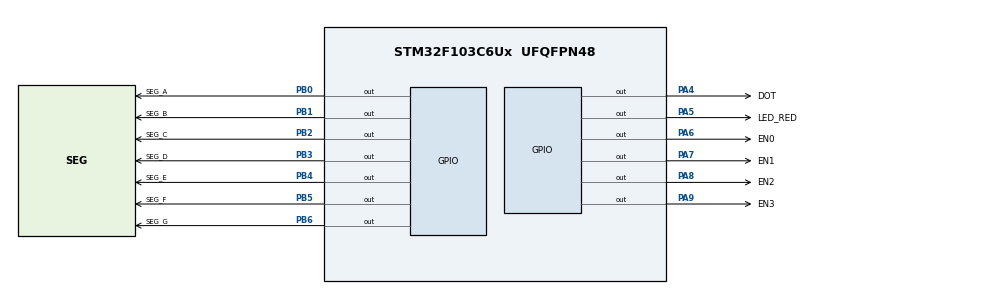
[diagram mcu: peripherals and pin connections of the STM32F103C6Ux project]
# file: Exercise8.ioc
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Mcu.Family=STM32F1
Mcu.Name=STM32F103C6Ux
Mcu.Package=UFQFPN48
NVIC.PriorityGroup=NVIC_PRIORITYGROUP_4
NVIC.TIM2_IRQn=true\:0\:0\:false\:false\:true\:true\:true
PA4.GPIO_Label=DOT
PA4.PinState=GPIO_PIN_SET
PA4.Signal=GPIO_Output
PA5.GPIO_Label=LED_RED
PA5.PinState=GPIO_PIN_SET
PA5.Signal=GPIO_Output
PA6.GPIO_Label=EN0
PA6.PinState=GPIO_PIN_SET
PA6.Signal=GPIO_Output
PA7.GPIO_Label=EN1
PA7.PinState=GPIO_PIN_SET
PA7.Signal=GPIO_Output
PA8.GPIO_Label=EN2
PA8.PinState=GPIO_PIN_SET
PA8.Signal=GPIO_Output
PA9.GPIO_Label=EN3
PA9.PinState=GPIO_PIN_SET
PA9.Signal=GPIO_Output
PB0.GPIO_Label=SEG_A
PB0.PinState=GPIO_PIN_SET
PB0.Signal=GPIO_Output
PB1.GPIO_Label=SEG_B
PB1.PinState=GPIO_PIN_SET
PB1.Signal=GPIO_Output
PB2.GPIO_Label=SEG_C
PB2.PinState=GPIO_PIN_SET
PB2.Signal=GPIO_Output
PB3.GPIO_Label=SEG_D
PB3.PinState=GPIO_PIN_SET
PB3.Signal=GPIO_Output
PB4.GPIO_Label=SEG_E
PB4.PinState=GPIO_PIN_SET
PB4.Signal=GPIO_Output
PB5.GPIO_Label=SEG_F
PB5.PinState=GPIO_PIN_SET
PB5.Signal=GPIO_Output
PB6.GPIO_Label=SEG_G
PB6.PinState=GPIO_PIN_SET
PB6.Signal=GPIO_Output
ProjectManager.HeapSize=0x200
ProjectManager.StackSize=0x400
ProjectManager.TargetToolchain=STM32CubeIDE
RCC.APB1Freq_Value=8000000
RCC.APB2Freq_Value=8000000
TIM2.Period=9
TIM2.Prescaler=7999
VP_SYS_VS_ND.Mode=No_Debug
VP_TIM2_VS_ClockSourceINT.Mode=Internal
board=custom

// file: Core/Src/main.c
/* USER CODE BEGIN Header */
/**
  ******************************************************************************
  * @file           : main.c
  * @brief          : Main program body
  ******************************************************************************
  * @attention
  *
  * <h2><center>&copy; Copyright (c) 2026 STMicroelectronics.
  * All rights reserved.</center></h2>
  *
  * This software component is licensed by ST under BSD 3-Clause license,
  * the "License"; You may not use this file except in compliance with the
  * License. You may obtain a copy of the License at:
  *                        opensource.org/licenses/BSD-3-Clause
  *
  ******************************************************************************
  */
/* USER CODE END Header */
#include "main.h"

TIM_HandleTypeDef htim2;

void SystemClock_Config(void);
static void MX_GPIO_Init(void);
static void MX_TIM2_Init(void);

/* USER CODE BEGIN 0 */

/* ====================== SOFTWARE TIMERS ====================== */
#define TIMER_CYCLE 10              // timer interrupt period = 10 ms

/* timer0: 1-second tick for the clock and DOT */
int timer0_counter = 0;
int timer0_flag = 0;

/* timer1: scanning period for the 7-segment LEDs */
int timer1_counter = 0;
int timer1_flag = 0;

void setTimer0(int duration)
{
  timer0_counter = duration / TIMER_CYCLE;
  timer0_flag = 0;
}

void setTimer1(int duration)
{
  timer1_counter = duration / TIMER_CYCLE;
  timer1_flag = 0;
}

void timer_run(void)
{
  if (timer0_counter > 0)
  {
    timer0_counter--;
    if (timer0_counter == 0) timer0_flag = 1;
  }
  if (timer1_counter > 0)
  {
    timer1_counter--;
    if (timer1_counter == 0) timer1_flag = 1;
  }
}

/* ====================== 7-SEGMENT DISPLAY ====================== */
const int MAX_LED = 4;
int index_led = 0;
int led_buffer[4] = {1, 2, 3, 4};

/* Scanning period of ONE LED in ms.
   250 ms -> all 4 LEDs scanned at 1 Hz.
   Use 50 (or 10) for a smoother display on real hardware. */
#define SCAN_PERIOD 250

/* Segment pins (common anode: logic 0 = segment ON) */
static const uint16_t seg_pin[7] = {
  SEG_A_Pin, SEG_B_Pin, SEG_C_Pin, SEG_D_Pin,
  SEG_E_Pin, SEG_F_Pin, SEG_G_Pin
};

/* Pattern for digits 0..9, bit0 = a ... bit6 = g (0 = ON) */
static const uint8_t seg_code[10] = {
  0x40, // 0
  0x79, // 1
  0x24, // 2
  0x30, // 3
  0x19, // 4
  0x12, // 5
  0x02, // 6
  0x78, // 7
  0x00, // 8
  0x10  // 9
};

void display7SEG(int num)
{
  if (num < 0 || num > 9) return;
  for (int i = 0; i < 7; i++)
  {
    HAL_GPIO_WritePin(GPIOB, seg_pin[i],
        ((seg_code[num] >> i) & 0x01) ? GPIO_PIN_SET : GPIO_PIN_RESET);
  }
}

void update7SEG(int index)
{
  /* Turn OFF all 4 digits first (PNP: logic 1 = OFF) */
  HAL_GPIO_WritePin(GPIOA, EN0_Pin | EN1_Pin | EN2_Pin | EN3_Pin, GPIO_PIN_SET);

  switch (index)
  {
    case 0:
      display7SEG(led_buffer[0]);
      HAL_GPIO_WritePin(GPIOA, EN0_Pin, GPIO_PIN_RESET);
      break;
    case 1:
      display7SEG(led_buffer[1]);
      HAL_GPIO_WritePin(GPIOA, EN1_Pin, GPIO_PIN_RESET);
      break;
    case 2:
      display7SEG(led_buffer[2]);
      HAL_GPIO_WritePin(GPIOA, EN2_Pin, GPIO_PIN_RESET);
      break;
    case 3:
      display7SEG(led_buffer[3]);
      HAL_GPIO_WritePin(GPIOA, EN3_Pin, GPIO_PIN_RESET);
      break;
    default:
      break;
  }
}

/* ====================== DIGITAL CLOCK ====================== */
int hour = 15, minute = 8, second = 50;

void updateClockBuffer(void)
{
  led_buffer[0] = hour / 10;
  led_buffer[1] = hour % 10;
  led_buffer[2] = minute / 10;
  led_buffer[3] = minute % 10;
}

/* USER CODE END 0 */

int main(void)
{

  /* MCU Configuration--------------------------------------------------------*/

  /* Reset of all peripherals, Initializes the Flash interface and the Systick. */
  HAL_Init();

  /* Configure the system clock */
  SystemClock_Config();

  /* Initialize all configured peripherals */
  MX_GPIO_Init();
  MX_TIM2_Init();
  /* USER CODE BEGIN 2 */
  HAL_TIM_Base_Start_IT(&htim2);
  updateClockBuffer();              // show the initial time 15:08
  setTimer0(1000);                  // 1 s tick for the clock
  setTimer1(10);                    // first scan happens right away
  /* USER CODE END 2 */

  /* Infinite loop */
  while (1)
  {

    /* USER CODE BEGIN 3 */

    /* ---- LED scanning (moved out of the interrupt) ---- */
    if (timer1_flag == 1)
    {
      setTimer1(SCAN_PERIOD);
      update7SEG(index_led++);
      if (index_led >= MAX_LED) index_led = 0;
    }

    /* ---- Clock + DOT, every 1 second ---- */
    if (timer0_flag == 1)
    {
      setTimer0(1000);

      HAL_GPIO_TogglePin(DOT_GPIO_Port, DOT_Pin);
      HAL_GPIO_TogglePin(LED_RED_GPIO_Port, LED_RED_Pin);

      second++;
      if (second >= 60)
      {
        second = 0;
        minute++;
      }
      if (minute >= 60)
      {
        minute = 0;
        hour++;
      }
      if (hour >= 24)
      {
        hour = 0;
      }
      updateClockBuffer();
    }
  }
  /* USER CODE END 3 */
}

void SystemClock_Config(void)
{
  RCC_OscInitTypeDef RCC_OscInitStruct = {0};
  RCC_ClkInitTypeDef RCC_ClkInitStruct = {0};

  /** Initializes the RCC Oscillators according to the specified parameters
  * in the RCC_OscInitTypeDef structure.
  */
  RCC_OscInitStruct.OscillatorType = RCC_OSCILLATORTYPE_HSI;
  RCC_OscInitStruct.HSIState = RCC_HSI_ON;
  RCC_OscInitStruct.HSICalibrationValue = RCC_HSICALIBRATION_DEFAULT;
  RCC_OscInitStruct.PLL.PLLState = RCC_PLL_NONE;
  if (HAL_RCC_OscConfig(&RCC_OscInitStruct) != HAL_OK)
  {
    Error_Handler();
  }
  /** Initializes the CPU, AHB and APB buses clocks
  */
  RCC_ClkInitStruct.ClockType = RCC_CLOCKTYPE_HCLK|RCC_CLOCKTYPE_SYSCLK
                              |RCC_CLOCKTYPE_PCLK1|RCC_CLOCKTYPE_PCLK2;
  RCC_ClkInitStruct.SYSCLKSource = RCC_SYSCLKSOURCE_HSI;
  RCC_ClkInitStruct.AHBCLKDivider = RCC_SYSCLK_DIV1;
  RCC_ClkInitStruct.APB1CLKDivider = RCC_HCLK_DIV1;
  RCC_ClkInitStruct.APB2CLKDivider = RCC_HCLK_DIV1;

  if (HAL_RCC_ClockConfig(&RCC_ClkInitStruct, FLASH_LATENCY_0) != HAL_OK)
  {
    Error_Handler();
  }
}

static void MX_TIM2_Init(void)
{

  TIM_ClockConfigTypeDef sClockSourceConfig = {0};
  TIM_MasterConfigTypeDef sMasterConfig = {0};

  htim2.Instance = TIM2;
  htim2.Init.Prescaler = 7999;
  htim2.Init.CounterMode = TIM_COUNTERMODE_UP;
  htim2.Init.Period = 9;
  htim2.Init.ClockDivision = TIM_CLOCKDIVISION_DIV1;
  htim2.Init.AutoReloadPreload = TIM_AUTORELOAD_PRELOAD_DISABLE;
  if (HAL_TIM_Base_Init(&htim2) != HAL_OK)
  {
    Error_Handler();
  }
  sClockSourceConfig.ClockSource = TIM_CLOCKSOURCE_INTERNAL;
  if (HAL_TIM_ConfigClockSource(&htim2, &sClockSourceConfig) != HAL_OK)
  {
    Error_Handler();
  }
  sMasterConfig.MasterOutputTrigger = TIM_TRGO_RESET;
  sMasterConfig.MasterSlaveMode = TIM_MASTERSLAVEMODE_DISABLE;
  if (HAL_TIMEx_MasterConfigSynchronization(&htim2, &sMasterConfig) != HAL_OK)
  {
    Error_Handler();
  }

}

static void MX_GPIO_Init(void)
{
  GPIO_InitTypeDef GPIO_InitStruct = {0};

  /* GPIO Ports Clock Enable */
  __HAL_RCC_GPIOA_CLK_ENABLE();
  __HAL_RCC_GPIOB_CLK_ENABLE();

  /*Configure GPIO pin Output Level */
  HAL_GPIO_WritePin(GPIOA, DOT_Pin|LED_RED_Pin|EN0_Pin|EN1_Pin
                          |EN2_Pin|EN3_Pin, GPIO_PIN_SET);

  /*Configure GPIO pin Output Level */
  HAL_GPIO_WritePin(GPIOB, SEG_A_Pin|SEG_B_Pin|SEG_C_Pin|SEG_D_Pin
                          |SEG_E_Pin|SEG_F_Pin|SEG_G_Pin, GPIO_PIN_SET);

  /*Configure GPIO pins : DOT_Pin LED_RED_Pin EN0_Pin EN1_Pin
                           EN2_Pin EN3_Pin */
  GPIO_InitStruct.Pin = DOT_Pin|LED_RED_Pin|EN0_Pin|EN1_Pin
                          |EN2_Pin|EN3_Pin;
  GPIO_InitStruct.Mode = GPIO_MODE_OUTPUT_PP;
  GPIO_InitStruct.Pull = GPIO_NOPULL;
  GPIO_InitStruct.Speed = GPIO_SPEED_FREQ_LOW;
  HAL_GPIO_Init(GPIOA, &GPIO_InitStruct);

  /*Configure GPIO pins : SEG_A_Pin SEG_B_Pin SEG_C_Pin SEG_D_Pin
                           SEG_E_Pin SEG_F_Pin SEG_G_Pin */
  GPIO_InitStruct.Pin = SEG_A_Pin|SEG_B_Pin|SEG_C_Pin|SEG_D_Pin
                          |SEG_E_Pin|SEG_F_Pin|SEG_G_Pin;
  GPIO_InitStruct.Mode = GPIO_MODE_OUTPUT_PP;
  GPIO_InitStruct.Pull = GPIO_NOPULL;
  GPIO_InitStruct.Speed = GPIO_SPEED_FREQ_LOW;
  HAL_GPIO_Init(GPIOB, &GPIO_InitStruct);

}

/* USER CODE BEGIN 4 */

/* Called every 10 ms by TIM2 - only handles the software timers */
void HAL_TIM_PeriodElapsedCallback(TIM_HandleTypeDef *htim)
{
  if (htim->Instance == TIM2)
  {
    timer_run();
  }
}

/* USER CODE END 4 */

void Error_Handler(void)
{
  __disable_irq();
  while (1)
  {
  }
}

/************************ (C) COPYRIGHT STMicroelectronics *****END OF FILE****/
